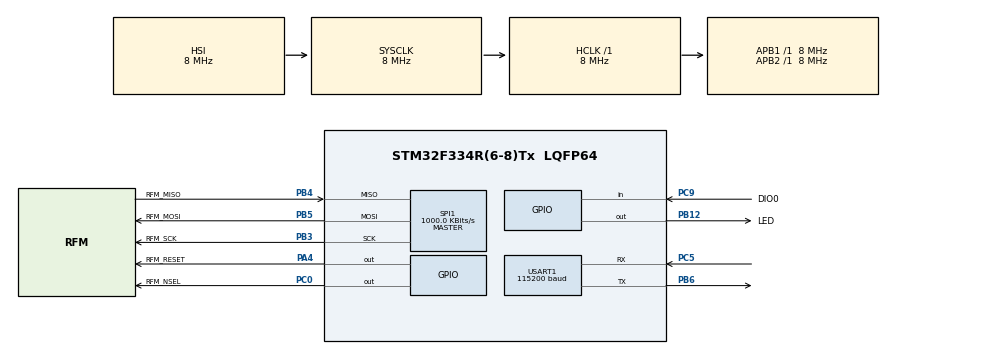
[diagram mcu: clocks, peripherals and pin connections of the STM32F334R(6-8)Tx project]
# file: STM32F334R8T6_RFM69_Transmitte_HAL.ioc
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Mcu.Family=STM32F3
RCC.CortexFreq_Value=8000000
PF0\ /\ OSC_IN.Mode=HSE-External-Clock-Source
SPI1.VirtualType=VM_MASTER
PC9.GPIO_Label=DIO0
USART1.BaudRate=115200
PC0.GPIO_Label=RFM_NSEL
SPI1.CLKPhase=SPI_PHASE_2EDGE
PC5.Mode=Asynchronous
PC0.Signal=GPIO_Output
ProjectManager.StackSize=0x400
USART1.VirtualMode-Asynchronous=VM_ASYNC
PA13.Signal=SYS_JTMS-SWDIO
SPI1.CLKPolarity=SPI_POLARITY_LOW
PA4.PinState=GPIO_PIN_SET
ProjectManager.TargetToolchain=STM32CubeIDE
SPI1.Direction=SPI_DIRECTION_2LINES
PB6.Signal=USART1_TX
PB6.Mode=Asynchronous
SPI1.CalculateBaudRate=1000.0 KBits/s
RCC.LSE_VALUE=32768
RCC.AHBFreq_Value=8000000
RCC.HSE_VALUE=8000000
PB3.Mode=Full_Duplex_Master
board=custom
PA4.GPIO_Speed=GPIO_SPEED_FREQ_HIGH
PB12.GPIO_Label=LED
RCC.APB2Freq_Value=8000000
PB4.Mode=Full_Duplex_Master
PF0\ /\ OSC_IN.Signal=RCC_OSC_IN
PB4.GPIO_Label=RFM_MISO
SPI1.Mode=SPI_MODE_MASTER
PA14.Mode=Serial_Wire
PB5.Mode=Full_Duplex_Master
SPI1.DataSize=SPI_DATASIZE_8BIT
PA13.Mode=Serial_Wire
Mcu.Name=STM32F334R(6-8)Tx
PB3.Signal=SPI1_SCK
PA4.Signal=GPIO_Output
RCC.SYSCLKFreq_VALUE=8000000
Mcu.Package=LQFP64
PB5.Signal=SPI1_MOSI
PA14.Signal=SYS_JTCK-SWCLK
ProjectManager.HeapSize=0x200
RCC.HSI_VALUE=8000000
NVIC.PriorityGroup=NVIC_PRIORITYGROUP_4
PB5.GPIO_Label=RFM_MOSI
PC5.Signal=USART1_RX
PC9.Signal=GPIO_Input
RCC.APB1Freq_Value=8000000
SPI1.BaudRatePrescaler=SPI_BAUDRATEPRESCALER_8
PA4.GPIO_Label=RFM_RESET
PB12.Signal=GPIO_Output
PB4.Signal=SPI1_MISO
PB3.GPIO_Label=RFM_SCK

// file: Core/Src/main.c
/* USER CODE BEGIN Header */
/**
 ******************************************************************************
 * @file           : main.c
 * @brief          : Main program body
 ******************************************************************************
 * @attention
 *
 * <h2><center>&copy; Copyright (c) 2021 STMicroelectronics.
 * All rights reserved.</center></h2>
 *
 * This software component is licensed by ST under BSD 3-Clause license,
 * the "License"; You may not use this file except in compliance with the
 * License. You may obtain a copy of the License at:
 *                        opensource.org/licenses/BSD-3-Clause
 *
 ******************************************************************************
 */
/* USER CODE END Header */
#include "main.h"

/* USER CODE BEGIN Includes */
#include "rfm69.h"
#include <string.h>
/* USER CODE END Includes */

/* USER CODE BEGIN PTD */
#define HUB_ID   0xAB
#define DEVICE_ID 0xCB
#define NETWORKID     0x10  /* (range up to 255)*/
#define FREQUENCY   RF69_433MHZ
#define ENCRYPTKEY    "sampleEncryptKey"

/* USER CODE END PTD */

SPI_HandleTypeDef hspi1;

UART_HandleTypeDef huart1;

void SystemClock_Config(void);
static void MX_GPIO_Init(void);
static void MX_SPI1_Init(void);
static void MX_USART1_UART_Init(void);

int main(void) {

	/* MCU Configuration--------------------------------------------------------*/

	/* Reset of all peripherals, Initializes the Flash interface and the Systick. */
	HAL_Init();

	/* Configure the system clock */
	SystemClock_Config();

	/* Initialize all configured peripherals */
	MX_GPIO_Init();
	MX_SPI1_Init();
	MX_USART1_UART_Init();
	/* USER CODE BEGIN 2 */
	typedef enum {
		LED_ENABLE_CMD = 0x01, LED_DISABLE_CMD = 0x02
	} led_cmd_t;

	uint8_t TxBuffer[30] = { };
	rfm69_down_reset_pin();
	if (rfm69_init(FREQUENCY, HUB_ID, NETWORKID)) {
		setFrequency(433000000);
		uint32_t rfm_freq = getFrequency();
		sprintf(TxBuffer, "Freq: %u Hz\r\n", rfm_freq);
		HAL_UART_Transmit(&huart1, (uint8_t*) &TxBuffer, strlen(TxBuffer), 100);

	}
	if (!setAESEncryption(ENCRYPTKEY, 16)) {
		Error_Handler();
	}

	char data_to_transmit[] = { 0x01, 0x02 };

	uint8_t RxBuffer[150] = { };
	Payload receive_data;

	/* USER CODE END 2 */
	receiveBegin();
	/* Infinite loop */
	/* USER CODE BEGIN WHILE */
	while (1) {

		if (waitForResponce(&receive_data, 1000)) {
			sprintf(RxBuffer, "-------------------------------\r\n"
					"Received from sender: 0x%X\r\n"
					"Received length: %d bytes\r\n"
					"RSSI: %d\r\n"
					"Receive to: 0x%X\r\n"
					"CTL_BYTE: 0x%X\r\n", receive_data.senderId,
					receive_data.size, receive_data.signalStrength,
					receive_data.targetId, receive_data.ctlByte);

			HAL_UART_Transmit(&huart1, (uint8_t*) &RxBuffer, strlen(RxBuffer),
					100);
			for (uint8_t i = 0; i <= receive_data.size; i++) {
				sprintf(RxBuffer, "Data[%d]: 0x%X\r\n", i,
						receive_data.data[i]);
				HAL_UART_Transmit(&huart1, (uint8_t*) &RxBuffer,
						strlen(RxBuffer), 100);
			}

		}
		/* USER CODE END WHILE */

	}
}

void SystemClock_Config(void) {
	RCC_OscInitTypeDef RCC_OscInitStruct = { 0 };
	RCC_ClkInitTypeDef RCC_ClkInitStruct = { 0 };
	RCC_PeriphCLKInitTypeDef PeriphClkInit = { 0 };

	/** Initializes the RCC Oscillators according to the specified parameters
	 * in the RCC_OscInitTypeDef structure.
	 */
	RCC_OscInitStruct.OscillatorType = RCC_OSCILLATORTYPE_HSI;
	RCC_OscInitStruct.HSIState = RCC_HSI_ON;
	RCC_OscInitStruct.HSICalibrationValue = RCC_HSICALIBRATION_DEFAULT;
	RCC_OscInitStruct.PLL.PLLState = RCC_PLL_NONE;
	if (HAL_RCC_OscConfig(&RCC_OscInitStruct) != HAL_OK) {
		Error_Handler();
	}
	/** Initializes the CPU, AHB and APB buses clocks
	 */
	RCC_ClkInitStruct.ClockType = RCC_CLOCKTYPE_HCLK | RCC_CLOCKTYPE_SYSCLK
			| RCC_CLOCKTYPE_PCLK1 | RCC_CLOCKTYPE_PCLK2;
	RCC_ClkInitStruct.SYSCLKSource = RCC_SYSCLKSOURCE_HSI;
	RCC_ClkInitStruct.AHBCLKDivider = RCC_SYSCLK_DIV1;
	RCC_ClkInitStruct.APB1CLKDivider = RCC_HCLK_DIV1;
	RCC_ClkInitStruct.APB2CLKDivider = RCC_HCLK_DIV1;

	if (HAL_RCC_ClockConfig(&RCC_ClkInitStruct, FLASH_LATENCY_0) != HAL_OK) {
		Error_Handler();
	}
	PeriphClkInit.PeriphClockSelection = RCC_PERIPHCLK_USART1;
	PeriphClkInit.Usart1ClockSelection = RCC_USART1CLKSOURCE_PCLK1;
	if (HAL_RCCEx_PeriphCLKConfig(&PeriphClkInit) != HAL_OK) {
		Error_Handler();
	}
}

static void MX_SPI1_Init(void) {

	/* SPI1 parameter configuration*/
	hspi1.Instance = SPI1;
	hspi1.Init.Mode = SPI_MODE_MASTER;
	hspi1.Init.Direction = SPI_DIRECTION_2LINES;
	hspi1.Init.DataSize = SPI_DATASIZE_8BIT;
	hspi1.Init.CLKPolarity = SPI_POLARITY_LOW;
	hspi1.Init.CLKPhase = SPI_PHASE_2EDGE;
	hspi1.Init.NSS = SPI_NSS_SOFT;
	hspi1.Init.BaudRatePrescaler = SPI_BAUDRATEPRESCALER_8;
	hspi1.Init.FirstBit = SPI_FIRSTBIT_MSB;
	hspi1.Init.TIMode = SPI_TIMODE_DISABLE;
	hspi1.Init.CRCCalculation = SPI_CRCCALCULATION_DISABLE;
	hspi1.Init.CRCPolynomial = 7;
	hspi1.Init.CRCLength = SPI_CRC_LENGTH_DATASIZE;
	hspi1.Init.NSSPMode = SPI_NSS_PULSE_DISABLE;
	if (HAL_SPI_Init(&hspi1) != HAL_OK) {
		Error_Handler();
	}

}

static void MX_USART1_UART_Init(void) {

	huart1.Instance = USART1;
	huart1.Init.BaudRate = 115200;
	huart1.Init.WordLength = UART_WORDLENGTH_8B;
	huart1.Init.StopBits = UART_STOPBITS_1;
	huart1.Init.Parity = UART_PARITY_NONE;
	huart1.Init.Mode = UART_MODE_TX_RX;
	huart1.Init.HwFlowCtl = UART_HWCONTROL_NONE;
	huart1.Init.OverSampling = UART_OVERSAMPLING_16;
	huart1.Init.OneBitSampling = UART_ONE_BIT_SAMPLE_DISABLE;
	huart1.AdvancedInit.AdvFeatureInit = UART_ADVFEATURE_NO_INIT;
	if (HAL_UART_Init(&huart1) != HAL_OK) {
		Error_Handler();
	}

}

static void MX_GPIO_Init(void) {
	GPIO_InitTypeDef GPIO_InitStruct = { 0 };

	/* GPIO Ports Clock Enable */
	__HAL_RCC_GPIOF_CLK_ENABLE();
	__HAL_RCC_GPIOC_CLK_ENABLE();
	__HAL_RCC_GPIOA_CLK_ENABLE();
	__HAL_RCC_GPIOB_CLK_ENABLE();

	/*Configure GPIO pin Output Level */
	HAL_GPIO_WritePin(RFM_NSEL_GPIO_Port, RFM_NSEL_Pin, GPIO_PIN_RESET);

	/*Configure GPIO pin Output Level */
	HAL_GPIO_WritePin(RFM_RESET_GPIO_Port, RFM_RESET_Pin, GPIO_PIN_SET);

	/*Configure GPIO pin Output Level */
	HAL_GPIO_WritePin(LED_GPIO_Port, LED_Pin, GPIO_PIN_RESET);

	/*Configure GPIO pin : RFM_NSEL_Pin */
	GPIO_InitStruct.Pin = RFM_NSEL_Pin;
	GPIO_InitStruct.Mode = GPIO_MODE_OUTPUT_PP;
	GPIO_InitStruct.Pull = GPIO_NOPULL;
	GPIO_InitStruct.Speed = GPIO_SPEED_FREQ_LOW;
	HAL_GPIO_Init(RFM_NSEL_GPIO_Port, &GPIO_InitStruct);

	/*Configure GPIO pin : RFM_RESET_Pin */
	GPIO_InitStruct.Pin = RFM_RESET_Pin;
	GPIO_InitStruct.Mode = GPIO_MODE_OUTPUT_PP;
	GPIO_InitStruct.Pull = GPIO_NOPULL;
	GPIO_InitStruct.Speed = GPIO_SPEED_FREQ_HIGH;
	HAL_GPIO_Init(RFM_RESET_GPIO_Port, &GPIO_InitStruct);

	/*Configure GPIO pin : LED_Pin */
	GPIO_InitStruct.Pin = LED_Pin;
	GPIO_InitStruct.Mode = GPIO_MODE_OUTPUT_PP;
	GPIO_InitStruct.Pull = GPIO_NOPULL;
	GPIO_InitStruct.Speed = GPIO_SPEED_FREQ_LOW;
	HAL_GPIO_Init(LED_GPIO_Port, &GPIO_InitStruct);

	/*Configure GPIO pin : DIO0_Pin */
	GPIO_InitStruct.Pin = DIO0_Pin;
	GPIO_InitStruct.Mode = GPIO_MODE_INPUT;
	GPIO_InitStruct.Pull = GPIO_NOPULL;
	HAL_GPIO_Init(DIO0_GPIO_Port, &GPIO_InitStruct);

}

void Error_Handler(void) {
	__disable_irq();
	while (1) {
	}
}

/************************ (C) COPYRIGHT STMicroelectronics *****END OF FILE****/
